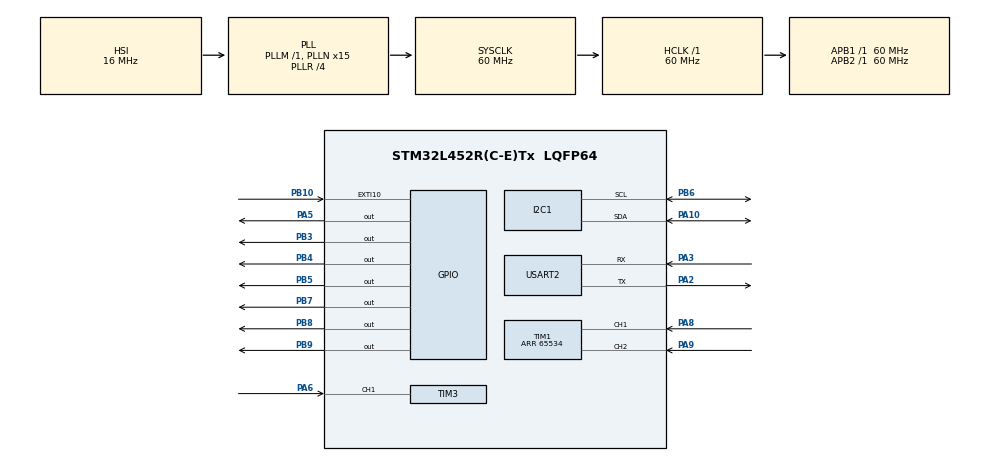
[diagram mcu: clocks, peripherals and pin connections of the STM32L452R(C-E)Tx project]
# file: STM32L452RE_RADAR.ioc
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Dma.Request0=USART2_TX
Dma.USART2_TX.0.Direction=DMA_MEMORY_TO_PERIPH
Dma.USART2_TX.0.Instance=DMA1_Channel7
Dma.USART2_TX.0.MemDataAlignment=DMA_MDATAALIGN_BYTE
Dma.USART2_TX.0.MemInc=DMA_MINC_ENABLE
Dma.USART2_TX.0.Mode=DMA_NORMAL
Dma.USART2_TX.0.PeriphDataAlignment=DMA_PDATAALIGN_BYTE
Dma.USART2_TX.0.PeriphInc=DMA_PINC_DISABLE
Dma.USART2_TX.0.Priority=DMA_PRIORITY_LOW
I2C1.Timing=0x107075B0
Mcu.Family=STM32L4
Mcu.Name=STM32L452R(C-E)Tx
Mcu.Package=LQFP64
NVIC.DMA1_Channel7_IRQn=true\:0\:0\:false\:false\:true\:false\:true
NVIC.EXTI15_10_IRQn=true\:0\:0\:false\:false\:true\:true\:true
NVIC.PriorityGroup=NVIC_PRIORITYGROUP_4
NVIC.TIM1_CC_IRQn=true\:0\:0\:false\:false\:true\:true\:true
NVIC.TIM2_IRQn=true\:0\:0\:false\:false\:true\:true\:true
NVIC.TIM3_IRQn=true\:0\:0\:false\:false\:true\:true\:true
NVIC.TIM6_DAC_IRQn=true\:0\:0\:false\:false\:true\:true\:true
PA10.Mode=I2C
PA10.Signal=I2C1_SDA
PA2.Mode=Asynchronous
PA2.Signal=USART2_TX
PA3.Mode=Asynchronous
PA3.Signal=USART2_RX
PA5.Signal=GPIO_Output
PA6.Signal=S_TIM3_CH1
PA8.GPIO_PuPd=GPIO_PULLUP
PA8.Signal=S_TIM1_CH1
PA9.GPIO_PuPd=GPIO_PULLUP
PA9.Signal=S_TIM1_CH2
PB10.Signal=GPXTI10
PB3\ (JTDO/TRACESWO).Signal=GPIO_Output
PB4\ (NJTRST).Signal=GPIO_Output
PB5.Signal=GPIO_Output
PB6.Mode=I2C
PB6.Signal=I2C1_SCL
PB7.Signal=GPIO_Output
PB8.Signal=GPIO_Output
PB9.Signal=GPIO_Output
PH0-OSC_IN\ (PH0).Mode=HSE-External-Oscillator
PH0-OSC_IN\ (PH0).Signal=RCC_OSC_IN
PH1-OSC_OUT\ (PH1).Mode=HSE-External-Oscillator
PH1-OSC_OUT\ (PH1).Signal=RCC_OSC_OUT
ProjectManager.HeapSize=0x200
ProjectManager.StackSize=0x400
ProjectManager.TargetToolchain=STM32CubeIDE
RCC.ADCFreq_Value=64000000
RCC.AHBFreq_Value=60000000
RCC.APB1Freq_Value=60000000
RCC.APB1TimFreq_Value=60000000
RCC.APB2Freq_Value=60000000
RCC.APB2TimFreq_Value=60000000
RCC.CortexFreq_Value=60000000
RCC.HCLKFreq_Value=60000000
RCC.HSE_VALUE=8000000
RCC.HSI48_VALUE=48000000
RCC.HSI_VALUE=16000000
RCC.LSE_VALUE=32768
RCC.MSI_VALUE=4000000
RCC.PLLN=15
RCC.PLLR=RCC_PLLR_DIV4
RCC.PLLSourceVirtual=RCC_PLLSOURCE_HSI
RCC.SYSCLKFreq_VALUE=60000000
RCC.SYSCLKSource=RCC_SYSCLKSOURCE_PLLCLK
RCC.USBFreq_Value=64000000
RCC.VCOOutputFreq_Value=240000000
SH.S_TIM1_CH1.0=TIM1_CH1,Encoder_Interface
SH.S_TIM1_CH2.0=TIM1_CH2,Encoder_Interface
SH.S_TIM3_CH1.0=TIM3_CH1,Input_Capture1_from_TI1
TIM1.Period=65534
TIM2.Period=5900
TIM2.Prescaler=99
TIM2.TIM_MasterOutputTrigger=TIM_TRGO_UPDATE
TIM3.Channel-Input_Capture1_from_TI1=TIM_CHANNEL_1
TIM3.Period=65534
TIM3.Prescaler=59
TIM6.Period=1300
TIM6.Prescaler=99
TIM6.TIM_MasterOutputTrigger=TIM_TRGO_UPDATE
USART2.VirtualMode-Asynchronous=VM_ASYNC
VP_TIM2_VS_ClockSourceINT.Mode=Internal
VP_TIM6_VS_ClockSourceINT.Mode=Enable_Timer
board=custom

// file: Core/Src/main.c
/* USER CODE BEGIN Header */
/**
  ******************************************************************************
  * @file           : main.c
  * @brief          : Main program body
  ******************************************************************************
  * @attention
  *
  * <h2><center>&copy; Copyright (c) 2020 STMicroelectronics.
  * All rights reserved.</center></h2>
  *
  * This software component is licensed by ST under BSD 3-Clause license,
  * the "License"; You may not use this file except in compliance with the
  * License. You may obtain a copy of the License at:
  *                        opensource.org/licenses/BSD-3-Clause
  *
  ******************************************************************************
  */
/* USER CODE END Header */

#include "main.h"

#include "../Libs/dma_usart/dma_usart.h"
/* USER CODE BEGIN Includes */
#include "../Libs/encoder/encoder.h"
#include "../Libs/step_motor/step_motor.h"
#include "../Libs/echo_radar/echo_radar.h"
#include "../Libs/hcsr04_IC/hcsr04.h"
#include "../Libs/oled_menu/oled_menu.h"
/* USER CODE END Includes */

I2C_HandleTypeDef hi2c1;

TIM_HandleTypeDef htim1;
TIM_HandleTypeDef htim2;
TIM_HandleTypeDef htim3;
TIM_HandleTypeDef htim6;

UART_HandleTypeDef huart2;
DMA_HandleTypeDef hdma_usart2_tx;

/* USER CODE BEGIN PV */
Encoder_HandleTypeDef encoder;
HCSR04_HandleTypeDef hcsr;
StepMotor_HandleTypeDef motor;
/* USER CODE END PV */

void SystemClock_Config(void);
static void MX_GPIO_Init(void);
static void MX_DMA_Init(void);
static void MX_USART2_UART_Init(void);
static void MX_TIM1_Init(void);
static void MX_TIM2_Init(void);
static void MX_I2C1_Init(void);
static void MX_TIM3_Init(void);
static void MX_TIM6_Init(void);
/* USER CODE BEGIN PFP */
void InitDevices(void);
/* USER CODE END PFP */

int main(void)
{

  /* MCU Configuration--------------------------------------------------------*/

  /* Reset of all peripherals, Initializes the Flash interface and the Systick. */
  HAL_Init();

  /* Configure the system clock */
  SystemClock_Config();

  /* Initialize all configured peripherals */
  MX_GPIO_Init();
  MX_DMA_Init();
  MX_USART2_UART_Init();
  MX_TIM1_Init();
  MX_TIM2_Init();
  MX_I2C1_Init();
  MX_TIM3_Init();
  MX_TIM6_Init();
  /* USER CODE BEGIN 2 */
  InitDevices();
  /* USER CODE END 2 */

  /* Infinite loop */
  /* USER CODE BEGIN WHILE */
  DMA_USART_Init();
  EncoderInit(&encoder);
  HCSR04_Init(&hcsr);
  StepMotorInit(&motor);
  EchoRadar_Init();
  OledMenu_Init();

  HAL_TIM_Base_Start(&htim2);
  HAL_TIM_Base_Start_IT(&htim2);
  HAL_TIM_Base_Start(&htim6);
  HAL_TIM_Base_Start_IT(&htim6);
  //==================================================================================WHILE========
  while (1)
  {
  	EchoRadar_Processing();

  	EchoRadar_SendMessage();

  	HAL_GPIO_TogglePin(GPIOA, GPIO_PIN_5);

  	HAL_Delay(10);
    /* USER CODE END WHILE */

  }
}

void SystemClock_Config(void)
{
  RCC_OscInitTypeDef RCC_OscInitStruct = {0};
  RCC_ClkInitTypeDef RCC_ClkInitStruct = {0};
  RCC_PeriphCLKInitTypeDef PeriphClkInit = {0};

  /** Initializes the CPU, AHB and APB busses clocks
  */
  RCC_OscInitStruct.OscillatorType = RCC_OSCILLATORTYPE_HSI;
  RCC_OscInitStruct.HSIState = RCC_HSI_ON;
  RCC_OscInitStruct.HSICalibrationValue = RCC_HSICALIBRATION_DEFAULT;
  RCC_OscInitStruct.PLL.PLLState = RCC_PLL_ON;
  RCC_OscInitStruct.PLL.PLLSource = RCC_PLLSOURCE_HSI;
  RCC_OscInitStruct.PLL.PLLM = 1;
  RCC_OscInitStruct.PLL.PLLN = 15;
  RCC_OscInitStruct.PLL.PLLP = RCC_PLLP_DIV7;
  RCC_OscInitStruct.PLL.PLLQ = RCC_PLLQ_DIV2;
  RCC_OscInitStruct.PLL.PLLR = RCC_PLLR_DIV4;
  if (HAL_RCC_OscConfig(&RCC_OscInitStruct) != HAL_OK)
  {
    Error_Handler();
  }
  /** Initializes the CPU, AHB and APB busses clocks
  */
  RCC_ClkInitStruct.ClockType = RCC_CLOCKTYPE_HCLK|RCC_CLOCKTYPE_SYSCLK
                              |RCC_CLOCKTYPE_PCLK1|RCC_CLOCKTYPE_PCLK2;
  RCC_ClkInitStruct.SYSCLKSource = RCC_SYSCLKSOURCE_PLLCLK;
  RCC_ClkInitStruct.AHBCLKDivider = RCC_SYSCLK_DIV1;
  RCC_ClkInitStruct.APB1CLKDivider = RCC_HCLK_DIV1;
  RCC_ClkInitStruct.APB2CLKDivider = RCC_HCLK_DIV1;

  if (HAL_RCC_ClockConfig(&RCC_ClkInitStruct, FLASH_LATENCY_3) != HAL_OK)
  {
    Error_Handler();
  }
  PeriphClkInit.PeriphClockSelection = RCC_PERIPHCLK_USART2|RCC_PERIPHCLK_I2C1;
  PeriphClkInit.Usart2ClockSelection = RCC_USART2CLKSOURCE_PCLK1;
  PeriphClkInit.I2c1ClockSelection = RCC_I2C1CLKSOURCE_PCLK1;
  if (HAL_RCCEx_PeriphCLKConfig(&PeriphClkInit) != HAL_OK)
  {
    Error_Handler();
  }
  /** Configure the main internal regulator output voltage
  */
  if (HAL_PWREx_ControlVoltageScaling(PWR_REGULATOR_VOLTAGE_SCALE1) != HAL_OK)
  {
    Error_Handler();
  }
}

static void MX_I2C1_Init(void)
{

  hi2c1.Instance = I2C1;
  hi2c1.Init.Timing = 0x107075B0;
  hi2c1.Init.OwnAddress1 = 0;
  hi2c1.Init.AddressingMode = I2C_ADDRESSINGMODE_7BIT;
  hi2c1.Init.DualAddressMode = I2C_DUALADDRESS_DISABLE;
  hi2c1.Init.OwnAddress2 = 0;
  hi2c1.Init.OwnAddress2Masks = I2C_OA2_NOMASK;
  hi2c1.Init.GeneralCallMode = I2C_GENERALCALL_DISABLE;
  hi2c1.Init.NoStretchMode = I2C_NOSTRETCH_DISABLE;
  if (HAL_I2C_Init(&hi2c1) != HAL_OK)
  {
    Error_Handler();
  }
  /** Configure Analogue filter
  */
  if (HAL_I2CEx_ConfigAnalogFilter(&hi2c1, I2C_ANALOGFILTER_ENABLE) != HAL_OK)
  {
    Error_Handler();
  }
  /** Configure Digital filter
  */
  if (HAL_I2CEx_ConfigDigitalFilter(&hi2c1, 0) != HAL_OK)
  {
    Error_Handler();
  }

}

static void MX_TIM1_Init(void)
{

  TIM_Encoder_InitTypeDef sConfig = {0};
  TIM_MasterConfigTypeDef sMasterConfig = {0};

  htim1.Instance = TIM1;
  htim1.Init.Prescaler = 0;
  htim1.Init.CounterMode = TIM_COUNTERMODE_UP;
  htim1.Init.Period = 65534;
  htim1.Init.ClockDivision = TIM_CLOCKDIVISION_DIV1;
  htim1.Init.RepetitionCounter = 0;
  htim1.Init.AutoReloadPreload = TIM_AUTORELOAD_PRELOAD_DISABLE;
  sConfig.EncoderMode = TIM_ENCODERMODE_TI1;
  sConfig.IC1Polarity = TIM_ICPOLARITY_RISING;
  sConfig.IC1Selection = TIM_ICSELECTION_DIRECTTI;
  sConfig.IC1Prescaler = TIM_ICPSC_DIV1;
  sConfig.IC1Filter = 0;
  sConfig.IC2Polarity = TIM_ICPOLARITY_RISING;
  sConfig.IC2Selection = TIM_ICSELECTION_DIRECTTI;
  sConfig.IC2Prescaler = TIM_ICPSC_DIV1;
  sConfig.IC2Filter = 0;
  if (HAL_TIM_Encoder_Init(&htim1, &sConfig) != HAL_OK)
  {
    Error_Handler();
  }
  sMasterConfig.MasterOutputTrigger = TIM_TRGO_RESET;
  sMasterConfig.MasterOutputTrigger2 = TIM_TRGO2_RESET;
  sMasterConfig.MasterSlaveMode = TIM_MASTERSLAVEMODE_DISABLE;
  if (HAL_TIMEx_MasterConfigSynchronization(&htim1, &sMasterConfig) != HAL_OK)
  {
    Error_Handler();
  }

}

static void MX_TIM2_Init(void)
{

  TIM_ClockConfigTypeDef sClockSourceConfig = {0};
  TIM_MasterConfigTypeDef sMasterConfig = {0};

  htim2.Instance = TIM2;
  htim2.Init.Prescaler = 99;
  htim2.Init.CounterMode = TIM_COUNTERMODE_UP;
  htim2.Init.Period = 5900;
  htim2.Init.ClockDivision = TIM_CLOCKDIVISION_DIV1;
  htim2.Init.AutoReloadPreload = TIM_AUTORELOAD_PRELOAD_DISABLE;
  if (HAL_TIM_Base_Init(&htim2) != HAL_OK)
  {
    Error_Handler();
  }
  sClockSourceConfig.ClockSource = TIM_CLOCKSOURCE_INTERNAL;
  if (HAL_TIM_ConfigClockSource(&htim2, &sClockSourceConfig) != HAL_OK)
  {
    Error_Handler();
  }
  sMasterConfig.MasterOutputTrigger = TIM_TRGO_UPDATE;
  sMasterConfig.MasterSlaveMode = TIM_MASTERSLAVEMODE_DISABLE;
  if (HAL_TIMEx_MasterConfigSynchronization(&htim2, &sMasterConfig) != HAL_OK)
  {
    Error_Handler();
  }

}

static void MX_TIM3_Init(void)
{

  TIM_MasterConfigTypeDef sMasterConfig = {0};
  TIM_IC_InitTypeDef sConfigIC = {0};

  htim3.Instance = TIM3;
  htim3.Init.Prescaler = 59;
  htim3.Init.CounterMode = TIM_COUNTERMODE_UP;
  htim3.Init.Period = 65534;
  htim3.Init.ClockDivision = TIM_CLOCKDIVISION_DIV1;
  htim3.Init.AutoReloadPreload = TIM_AUTORELOAD_PRELOAD_DISABLE;
  if (HAL_TIM_IC_Init(&htim3) != HAL_OK)
  {
    Error_Handler();
  }
  sMasterConfig.MasterOutputTrigger = TIM_TRGO_RESET;
  sMasterConfig.MasterSlaveMode = TIM_MASTERSLAVEMODE_DISABLE;
  if (HAL_TIMEx_MasterConfigSynchronization(&htim3, &sMasterConfig) != HAL_OK)
  {
    Error_Handler();
  }
  sConfigIC.ICPolarity = TIM_INPUTCHANNELPOLARITY_RISING;
  sConfigIC.ICSelection = TIM_ICSELECTION_DIRECTTI;
  sConfigIC.ICPrescaler = TIM_ICPSC_DIV1;
  sConfigIC.ICFilter = 0;
  if (HAL_TIM_IC_ConfigChannel(&htim3, &sConfigIC, TIM_CHANNEL_1) != HAL_OK)
  {
    Error_Handler();
  }

}

static void MX_TIM6_Init(void)
{

  TIM_MasterConfigTypeDef sMasterConfig = {0};

  htim6.Instance = TIM6;
  htim6.Init.Prescaler = 99;
  htim6.Init.CounterMode = TIM_COUNTERMODE_UP;
  htim6.Init.Period = 1300;
  htim6.Init.AutoReloadPreload = TIM_AUTORELOAD_PRELOAD_DISABLE;
  if (HAL_TIM_Base_Init(&htim6) != HAL_OK)
  {
    Error_Handler();
  }
  sMasterConfig.MasterOutputTrigger = TIM_TRGO_UPDATE;
  sMasterConfig.MasterSlaveMode = TIM_MASTERSLAVEMODE_DISABLE;
  if (HAL_TIMEx_MasterConfigSynchronization(&htim6, &sMasterConfig) != HAL_OK)
  {
    Error_Handler();
  }

}

static void MX_USART2_UART_Init(void)
{

  huart2.Instance = USART2;
  huart2.Init.BaudRate = 115200;
  huart2.Init.WordLength = UART_WORDLENGTH_8B;
  huart2.Init.StopBits = UART_STOPBITS_1;
  huart2.Init.Parity = UART_PARITY_NONE;
  huart2.Init.Mode = UART_MODE_TX_RX;
  huart2.Init.HwFlowCtl = UART_HWCONTROL_NONE;
  huart2.Init.OverSampling = UART_OVERSAMPLING_16;
  huart2.Init.OneBitSampling = UART_ONE_BIT_SAMPLE_DISABLE;
  huart2.AdvancedInit.AdvFeatureInit = UART_ADVFEATURE_NO_INIT;
  if (HAL_UART_Init(&huart2) != HAL_OK)
  {
    Error_Handler();
  }

}

static void MX_DMA_Init(void)
{

  /* DMA controller clock enable */
  __HAL_RCC_DMA1_CLK_ENABLE();

  /* DMA interrupt init */
  /* DMA1_Channel7_IRQn interrupt configuration */
  HAL_NVIC_SetPriority(DMA1_Channel7_IRQn, 0, 0);
  HAL_NVIC_EnableIRQ(DMA1_Channel7_IRQn);

}

static void MX_GPIO_Init(void)
{
  GPIO_InitTypeDef GPIO_InitStruct = {0};

  /* GPIO Ports Clock Enable */
  __HAL_RCC_GPIOH_CLK_ENABLE();
  __HAL_RCC_GPIOA_CLK_ENABLE();
  __HAL_RCC_GPIOB_CLK_ENABLE();

  /*Configure GPIO pin Output Level */
  HAL_GPIO_WritePin(GPIOA, GPIO_PIN_5, GPIO_PIN_RESET);

  /*Configure GPIO pin Output Level */
  HAL_GPIO_WritePin(GPIOB, GPIO_PIN_3|GPIO_PIN_4|GPIO_PIN_5|GPIO_PIN_7
                          |GPIO_PIN_8|GPIO_PIN_9, GPIO_PIN_RESET);

  /*Configure GPIO pin : PA5 */
  GPIO_InitStruct.Pin = GPIO_PIN_5;
  GPIO_InitStruct.Mode = GPIO_MODE_OUTPUT_PP;
  GPIO_InitStruct.Pull = GPIO_NOPULL;
  GPIO_InitStruct.Speed = GPIO_SPEED_FREQ_LOW;
  HAL_GPIO_Init(GPIOA, &GPIO_InitStruct);

  /*Configure GPIO pin : PB10 */
  GPIO_InitStruct.Pin = GPIO_PIN_10;
  GPIO_InitStruct.Mode = GPIO_MODE_IT_RISING;
  GPIO_InitStruct.Pull = GPIO_NOPULL;
  HAL_GPIO_Init(GPIOB, &GPIO_InitStruct);

  /*Configure GPIO pins : PB3 PB4 PB5 PB7
                           PB8 PB9 */
  GPIO_InitStruct.Pin = GPIO_PIN_3|GPIO_PIN_4|GPIO_PIN_5|GPIO_PIN_7
                          |GPIO_PIN_8|GPIO_PIN_9;
  GPIO_InitStruct.Mode = GPIO_MODE_OUTPUT_PP;
  GPIO_InitStruct.Pull = GPIO_NOPULL;
  GPIO_InitStruct.Speed = GPIO_SPEED_FREQ_LOW;
  HAL_GPIO_Init(GPIOB, &GPIO_InitStruct);

  /* EXTI interrupt init*/
  HAL_NVIC_SetPriority(EXTI15_10_IRQn, 0, 0);
  HAL_NVIC_EnableIRQ(EXTI15_10_IRQn);

}

/* USER CODE BEGIN 4 */
void InitDevices(void) {
	encoder.tumblerEncoder_TIM = &htim1;

	encoder.SW.GPIO = GPIOB;
	encoder.SW.PIN = GPIO_PIN_10;

	hcsr.trig.GPIO = GPIOB;
	hcsr.trig.PIN = GPIO_PIN_5;
	hcsr.htim = &htim3;
	hcsr.channel = TIM_CHANNEL_1;

	motor.p1.GPIO = GPIOB;
	motor.p1.PIN = GPIO_PIN_3;
	motor.p2.GPIO = GPIOB;
	motor.p2.PIN = GPIO_PIN_4;
	motor.p3.GPIO = GPIOB;
	motor.p3.PIN = GPIO_PIN_9;
	motor.p4.GPIO = GPIOB;
	motor.p4.PIN = GPIO_PIN_8;
}

void HAL_TIM_IC_CaptureCallback(TIM_HandleTypeDef *htim) {
	HCSR04_CaptureCallback(htim, &hcsr, EchoRadar_EnableMotor);
}
/* USER CODE END 4 */

void Error_Handler(void)
{
}

/************************ (C) COPYRIGHT STMicroelectronics *****END OF FILE****/
